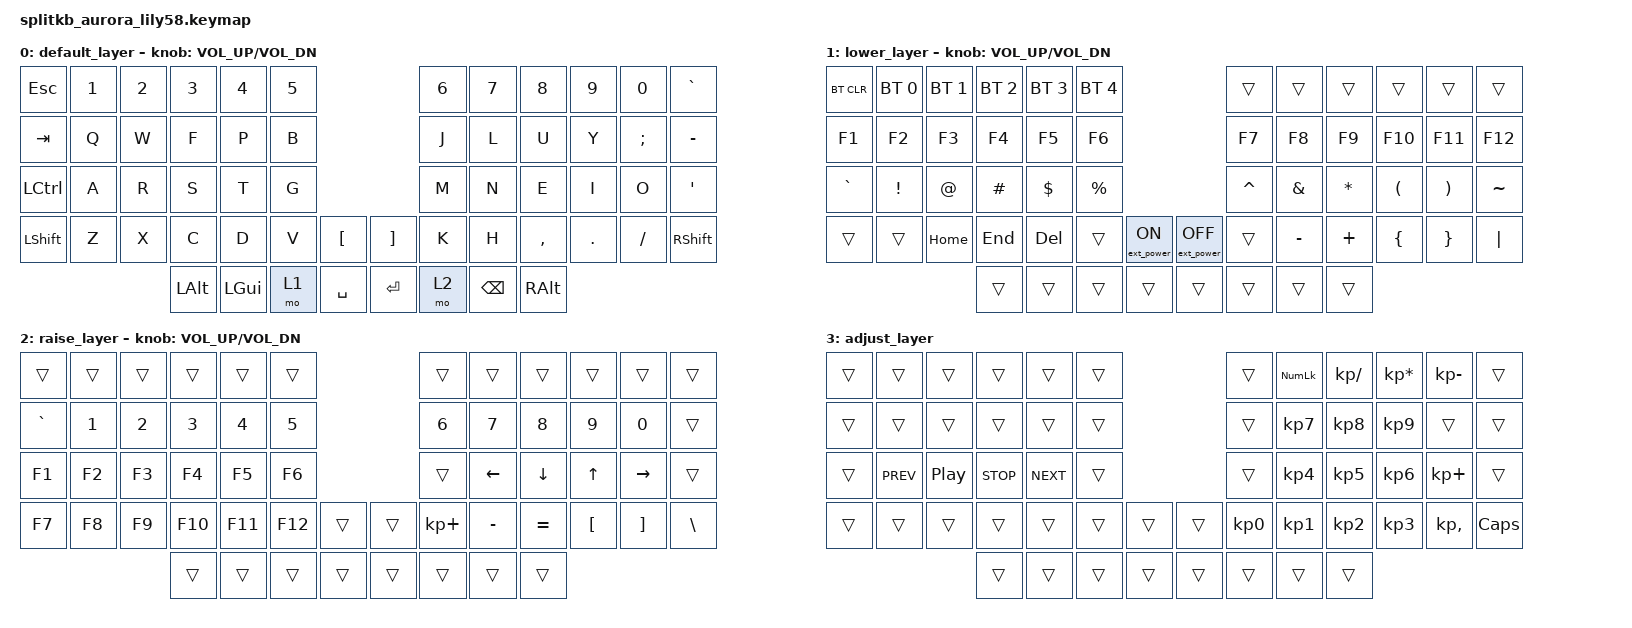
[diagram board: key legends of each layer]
/*
 * Copyright (c) 2020 The ZMK Contributors
 *
 * SPDX-License-Identifier: MIT
 */

#include <behaviors.dtsi>
#include <dt-bindings/zmk/bt.h>
#include <dt-bindings/zmk/ext_power.h>
#include <dt-bindings/zmk/keys.h>

/ {
    conditional_layers {
        compatible = "zmk,conditional-layers";
        tri_layer {
            if-layers = <1 2>;
            then-layer = <3>;
        };
    };
    
    keymap {
        compatible = "zmk,keymap";

        default_layer {
            // ------------------------------------------------------------------------------------------------------------
            // |  ESC  |  1  |  2  |  3   |  4   |  5   |                   |  6   |  7    |  8    |  9   |   0   |   `   |
            // |  TAB  |  Q  |  W  |  E   |  R   |  T   |                   |  Y   |  U    |  I    |  O   |   P   |   -   |
            // |  CTRL |  A  |  S  |  D   |  F   |  G   |                   |  H   |  J    |  K    |  L   |   ;   |   '   |
            // | SHIFT |  Z  |  X  |  C   |  V   |  B   |   "["  |  |  "]"  |  N   |  M    |  ,    |  .   |   /   | SHIFT |
            //                     | ALT  | GUI  | LOWER|  SPACE |  | ENTER | RAISE| BSPC  | RALT  |

            bindings = <
&kp ESC    &kp N1  &kp N2  &kp N3    &kp N4    &kp N5                         &kp N6  &kp N7    &kp N8     &kp N9   &kp N0         &kp GRAVE
&kp TAB    &kp Q   &kp W   &kp F     &kp P     &kp B                          &kp J   &kp L     &kp U      &kp Y    &kp SEMICOLON  &kp MINUS
&kp LCTRL  &kp A   &kp R   &kp S     &kp T     &kp G                          &kp M   &kp N     &kp E      &kp I    &kp O          &kp SQT
&kp LSHFT  &kp Z   &kp X   &kp C     &kp D     &kp V   &kp LBKT     &kp RBKT  &kp K   &kp H     &kp COMMA  &kp DOT  &kp FSLH       &kp RSHFT
                           &kp LALT  &kp LGUI  &mo 1   &kp SPACE    &kp RET   &mo 2   &kp BSPC  &kp RALT
            >;

            sensor-bindings = <&inc_dec_kp C_VOL_UP C_VOL_DN>;
        };

        lower_layer {
            // ------------------------------------------------------------------------------------------------------------
            // | BTCLR | BT1 | BT2 |  BT3 |  BT4 |  BT5 |                   |      |       |       |      |       |       |
            // |  F1   |  F2 |  F3 |  F4  |  F5  |  F6  |                   |  F7  |  F8   |  F9   |  F10 |  F11  |  F12  |
            // |   `   |  !  |  @  |  #   |  $   |  %   |                   |  ^   |  &    |  *    |  (   |   )   |   ~   |
            // |       |     | HOME|  END |  DEL |      |  EP_ON |  | EP_OFF|      |  _    |  +    |  {   |   }   |  "|"  |
            //                     |      |      |      |        |  |       |      |       |       |

            bindings = <
&bt BT_CLR  &bt BT_SEL 0  &bt BT_SEL 1  &bt BT_SEL 2  &bt BT_SEL 3  &bt BT_SEL 4                                         &trans     &trans     &trans     &trans    &trans    &trans
&kp F1      &kp F2        &kp F3        &kp F4        &kp F5        &kp F6                                               &kp F7     &kp F8     &kp F9     &kp F10   &kp F11   &kp F12
&kp GRAVE   &kp EXCL      &kp AT        &kp HASH      &kp DOLLAR    &kp PRCNT                                            &kp CARET  &kp AMPS   &kp ASTRK  &kp LPAR  &kp RPAR  &kp TILDE
&trans      &trans        &kp HOME      &kp END       &kp DELETE    &trans        &ext_power EP_ON    &ext_power EP_OFF  &trans     &kp MINUS  &kp PLUS   &kp LBRC  &kp RBRC  &kp PIPE
                                        &trans        &trans        &trans        &trans              &trans             &trans     &trans     &trans
            >;

            sensor-bindings = <&inc_dec_kp C_VOL_UP C_VOL_DN>;
        };

        raise_layer {
            // ------------------------------------------------------------------------------------------------------------
            // |       |     |     |      |      |      |                   |      |       |       |      |       |       |
            // |   `   |  1  |  2  |  3   |  4   |  5   |                   |  6   |   7   |   8   |  9   |   0   |       |
            // |   F1  |  F2 |  F3 |  F4  |  F5  |  F6  |                   |      |   <-  |   v   |  ^   |  ->   |       |
            // |   F7  |  F8 |  F9 |  F10 |  F11 |  F12 |        |  |       |  +   |   -   |   =   |  [   |   ]   |   \   |
            //                     |      |      |      |        |  |       |      |       |       |

            bindings = <
&trans     &trans  &trans  &trans   &trans   &trans                     &trans       &trans     &trans     &trans    &trans     &trans
&kp GRAVE  &kp N1  &kp N2  &kp N3   &kp N4   &kp N5                     &kp N6       &kp N7     &kp N8     &kp N9    &kp N0     &trans
&kp F1     &kp F2  &kp F3  &kp F4   &kp F5   &kp F6                     &trans       &kp LEFT   &kp DOWN   &kp UP    &kp RIGHT  &trans
&kp F7     &kp F8  &kp F9  &kp F10  &kp F11  &kp F12  &trans    &trans  &kp KP_PLUS  &kp MINUS  &kp EQUAL  &kp LBKT  &kp RBKT   &kp BSLH
                           &trans   &trans   &trans   &trans    &trans  &trans       &trans     &trans
            >;

            sensor-bindings = <&inc_dec_kp C_VOL_UP C_VOL_DN>;
        };

        adjust_layer {
            // ------------------------------------------------------------------------------------------------------------
            // |       |     |     |      |      |      |                   |      |       |   /   |   *  |   -   |       |
            // |       |     |     |      |      |      |                   |      |   7   |   8   |   9  |       |       |
            // |       |PREV |PL/PA| STOP | NEXT |      |        |  |       |      |   4   |   5   |   6  |   +   |       |
            // |       |     |     |      |      |      |        |  |       |   0  |   1   |   2   |   3  |   ,   |  CAPS |
            //                     |      |      |      |        |  |       |      |       |       |

            bindings = <
&trans  &trans      &trans            &trans      &trans      &trans                     &trans     &kp KP_NUM  &kp KP_DIVIDE   &kp KP_MULTIPLY     &kp KP_MINUS  &trans
&trans  &trans      &trans            &trans      &trans      &trans                     &trans     &kp KP_N7   &kp KP_N8       &kp KP_N9           &trans        &trans
&trans  &kp C_PREV  &kp C_PLAY_PAUSE  &kp C_STOP  &kp C_NEXT  &trans                     &trans     &kp KP_N4   &kp KP_N5       &kp KP_N6           &kp KP_PLUS   &trans
&trans  &trans      &trans            &trans      &trans      &trans  &trans     &trans  &kp KP_N0  &kp KP_N1   &kp KP_N2       &kp KP_N3           &kp KP_COMMA  &kp CAPS
                                      &trans      &trans      &trans  &trans     &trans  &trans     &trans      &trans
            >;
        };
    };
};
